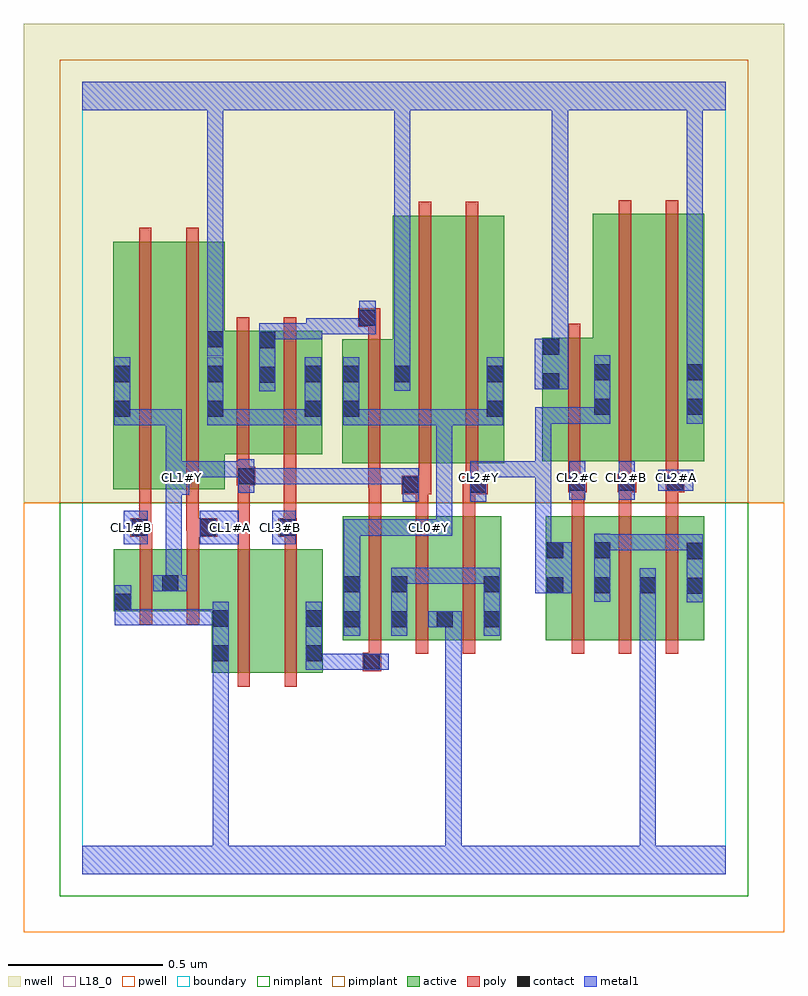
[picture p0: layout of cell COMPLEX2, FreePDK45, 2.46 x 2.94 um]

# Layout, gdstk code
import gdstk
lib = gdstk.Library(unit=1e-6, precision=1e-09)
def R(c, l, rs):  # rectangles x0, y0, x1, y1
    for r in rs: c.add(gdstk.rectangle(r[:2], r[2:], *l))
def A(c, l, x, y, w, h, nx, ny, dx, dy):  # array of equal rectangles
    R(c, l, [(x+i*dx, y+j*dy, x+i*dx+w, y+j*dy+h) for i in range(nx) for j in range(ny)])
active = (1, 0)
pwell = (2, 0)
nwell = (3, 0)
nimplant = (4, 0)
pimplant = (5, 0)
poly = (9, 0)
contact = (10, 0)
metal1 = (11, 0)
L18_0 = (18, 0)
boundary = (235, 0)

complex2 = lib.new_cell('COMPLEX2')
R(complex2, active, [(0.418,0.65,0.598,1.05), (0.418,0.65,0.478,0.856), (0.598,0.65,0.778,1.05), (0.718,0.65,0.778,1.05), (0.842,0.756,0.902,1.156), (0.842,0.756,1.054,1.156), (0.994,0.756,1.054,1.156), (0.994,0.756,1.202,1.156), (1.142,0.756,1.202,1.156), (1.142,0.756,1.354,1.156), (1.294,0.756,1.354,1.156), (1.498,0.756,1.558,1.156), (1.498,0.756,1.71,1.156), (1.65,0.756,1.71,1.156), (1.65,0.756,1.858,1.156), (1.798,0.756,1.858,1.156), (1.798,0.756,2.01,1.156), (1.95,0.756,2.01,1.156), (0.102,0.85,0.314,1.05), (0.102,0.85,0.162,1.05), (0.254,0.85,0.478,1.05), (0.254,0.85,0.314,0.97), (0.1,1.244,0.28,2.044), (0.1,1.244,0.16,2.044), (0.28,1.244,0.46,2.044), (0.84,1.328,0.9,1.646), (0.84,1.328,1.064,1.728), (1.004,1.328,1.184,2.128), (1.004,1.328,1.064,1.646), (1.184,1.328,1.364,2.128), (1.304,1.328,1.364,2.044), (1.486,1.334,1.546,1.734), (1.486,1.334,1.71,1.734), (1.65,1.334,1.83,2.134), (1.65,1.334,1.71,1.652), (1.83,1.334,2.01,2.134), (1.95,1.334,2.01,2.044), (0.4,1.356,0.628,1.756), (0.4,1.356,0.46,1.758), (0.568,1.356,0.628,1.756), (0.568,1.356,0.776,1.756), (0.716,1.356,0.776,1.646)])
R(complex2, pwell, [(-0.188,-0.188,2.268,1.2)])
R(complex2, nwell, [(-0.188,1.2,2.268,2.748)])
R(complex2, nimplant, [(-0.072,-0.072,2.152,1.2)])
R(complex2, pimplant, [(-0.072,1.2,2.152,2.632)])
A(complex2, poly, 0.926, 0.712, 0.04, 0.488, 3, 1, 0.152, 0)
A(complex2, poly, 1.582, 0.712, 0.04, 0.488, 3, 1, 0.152, 0)
A(complex2, poly, 1.582, 1.16, 0.04, 0.114, 3, 1, 0.152, 0)
R(complex2, poly, [(0.502,0.606,0.542,1.094), (0.654,0.606,0.694,1.094), (0.906,0.656,0.966,0.716), (0.926,0.676,0.966,0.752), (0.186,0.806,0.226,1.094), (0.338,0.806,0.378,1.094), (0.186,1.054,0.226,1.13), (0.338,1.054,0.378,1.13), (0.502,1.054,0.542,1.296), (0.654,1.054,0.694,1.13), (0.156,1.09,0.224,1.15), (0.184,1.09,0.224,1.13), (0.184,1.09,0.226,1.13), (0.338,1.09,0.436,1.15), (0.634,1.09,0.694,1.15), (0.184,1.11,0.224,1.24), (0.336,1.11,0.378,1.15), (0.336,1.11,0.376,1.24), (0.338,1.11,0.378,1.15), (0.652,1.11,0.692,1.15), (0.652,1.11,0.692,1.15), (0.652,1.11,0.692,1.352), (0.926,1.16,0.966,1.288), (1.078,1.16,1.118,1.268), (1.23,1.16,1.27,1.268), (0.184,1.2,0.224,2.088), (0.336,1.2,0.376,2.088), (1.032,1.228,1.128,1.288), (1.078,1.228,1.118,1.268), (1.078,1.228,1.118,1.268), (1.23,1.228,1.31,1.288), (1.57,1.234,1.63,1.294), (1.582,1.234,1.622,1.274), (1.582,1.234,1.622,1.274), (1.73,1.234,1.79,1.294), (1.886,1.234,1.946,1.294), (0.924,1.248,0.964,1.324), (0.924,1.248,0.964,1.288), (0.924,1.248,0.964,1.288), (0.924,1.248,0.966,1.288), (1.088,1.248,1.128,1.324), (1.24,1.248,1.28,1.324), (1.24,1.248,1.28,1.288), (1.24,1.248,1.28,1.288), (1.57,1.254,1.61,1.33), (1.734,1.254,1.774,1.33), (1.734,1.254,1.774,1.294), (1.734,1.254,1.774,1.294), (1.886,1.254,1.926,1.33), (1.886,1.254,1.926,1.294), (1.886,1.254,1.926,1.294), (0.5,1.256,0.56,1.316), (0.502,1.256,0.542,1.296), (0.502,1.256,0.542,1.296), (0.5,1.276,0.54,1.352), (0.924,1.284,0.964,1.772), (1.088,1.284,1.128,2.172), (1.24,1.284,1.28,2.172), (1.57,1.29,1.61,1.778), (1.734,1.29,1.774,2.178), (1.886,1.29,1.926,2.178), (0.5,1.312,0.54,1.8), (0.652,1.312,0.692,1.8), (0.924,1.732,0.964,1.808), (0.892,1.768,0.964,1.828)])
A(complex2, contact, 0.404, 1.478, 0.052, 0.052, 1, 3, 0, 0.112)
R(complex2, contact, [(0.91,0.66,0.962,0.712), (0.422,0.688,0.474,0.74), (0.722,0.688,0.774,0.74), (0.846,0.798,0.898,0.85), (0.998,0.798,1.05,0.85), (1.146,0.798,1.198,0.85), (1.298,0.798,1.35,0.85), (0.422,0.8,0.474,0.852), (0.722,0.8,0.774,0.852), (0.106,0.854,0.158,0.906), (1.954,0.906,2.006,0.958), (1.502,0.908,1.554,0.96), (1.654,0.908,1.706,0.96), (1.802,0.908,1.854,0.96), (0.846,0.91,0.898,0.962), (0.998,0.91,1.05,0.962), (1.298,0.91,1.35,0.962), (0.258,0.914,0.31,0.966), (1.954,1.018,2.006,1.07), (1.502,1.02,1.554,1.072), (1.654,1.02,1.706,1.072), (0.16,1.094,0.212,1.146), (0.38,1.094,0.432,1.146), (0.638,1.094,0.69,1.146), (1.036,1.232,1.088,1.284), (1.254,1.232,1.306,1.284), (1.574,1.238,1.626,1.29), (1.734,1.238,1.786,1.29), (1.89,1.238,1.942,1.29), (0.504,1.26,0.556,1.312), (0.104,1.478,0.156,1.53), (0.72,1.478,0.772,1.53), (0.844,1.478,0.896,1.53), (1.308,1.478,1.36,1.53), (1.654,1.484,1.706,1.536), (1.954,1.484,2.006,1.536), (1.49,1.566,1.542,1.618), (0.572,1.588,0.624,1.64), (0.104,1.59,0.156,1.642), (0.72,1.59,0.772,1.642), (0.844,1.59,0.896,1.642), (1.008,1.59,1.06,1.642), (1.308,1.59,1.36,1.642), (1.654,1.596,1.706,1.648), (1.954,1.596,2.006,1.648), (1.49,1.678,1.542,1.73), (0.572,1.7,0.624,1.752), (0.896,1.772,0.948,1.824)])
R(complex2, metal1, [(0,0,2.08,0.092), (0.422,0.04,0.474,0.092), (0.422,0.04,0.474,0.092), (0.422,0.04,0.474,0.092), (0.422,0.04,0.474,0.092), (0.422,0.04,0.474,0.092), (0.422,0.04,0.474,0.092), (0.422,0.04,0.474,0.092), (0.422,0.04,0.474,0.092), (0.422,0.04,0.474,0.092), (0.422,0.04,0.474,0.092), (0.422,0.04,0.474,0.712), (1.174,0.04,1.226,0.85), (1.802,0.04,1.854,0.092), (1.802,0.04,1.854,0.092), (1.802,0.04,1.854,0.092), (1.802,0.04,1.854,0.092), (1.802,0.04,1.854,0.092), (1.802,0.04,1.854,0.092), (1.802,0.04,1.854,0.092), (1.802,0.04,1.854,0.092), (1.802,0.04,1.854,0.092), (1.802,0.04,1.854,0.092), (1.802,0.04,1.854,0.092), (1.802,0.04,1.854,0.092), (1.802,0.04,1.854,0.932), (0.422,0.66,0.474,0.712), (0.422,0.66,0.474,0.712), (0.422,0.66,0.474,0.88), (0.722,0.66,0.774,0.712), (0.722,0.66,0.774,0.712), (0.722,0.66,0.774,0.88), (0.722,0.66,0.934,0.712), (0.882,0.66,0.934,0.712), (0.882,0.66,0.934,0.712), (0.882,0.66,0.99,0.712), (0.846,0.77,0.898,0.99), (0.998,0.77,1.05,0.99), (1.298,0.77,1.35,0.99), (1.118,0.798,1.226,0.85), (1.174,0.798,1.226,0.85), (1.174,0.798,1.226,0.85), (1.174,0.798,1.226,0.85), (1.174,0.798,1.226,0.85), (1.174,0.798,1.226,0.85), (1.174,0.798,1.226,0.85), (1.174,0.798,1.226,0.85), (1.174,0.798,1.226,0.85), (1.174,0.798,1.226,0.85), (1.174,0.798,1.226,0.85), (1.174,0.798,1.226,0.85), (1.174,0.798,1.226,0.85), (0.106,0.804,0.346,0.856), (0.106,0.804,0.158,0.878), (0.294,0.804,0.346,0.856), (0.294,0.804,0.346,0.856), (0.294,0.804,0.346,0.856), (0.294,0.804,0.346,0.856), (0.294,0.804,0.346,0.856), (0.294,0.804,0.346,0.856), (0.294,0.804,0.346,0.856), (0.294,0.804,0.474,0.856), (0.106,0.826,0.158,0.878), (0.106,0.826,0.158,0.934), (1.954,0.878,2.006,1.098), (1.654,0.88,1.706,1.1), (1.802,0.88,1.854,0.988), (1.464,0.908,1.582,1.072), (0.23,0.914,0.338,0.966), (0.27,0.914,0.322,1.278), (0.846,0.938,0.898,1.146), (0.998,0.938,1.196,0.99), (1.144,0.938,1.196,0.99), (1.144,0.938,1.196,0.99), (1.144,0.938,1.196,0.99), (1.144,0.938,1.35,0.99), (1.298,0.938,1.35,0.99), (1.298,0.938,1.35,0.99), (1.464,1.02,1.516,1.334), (1.654,1.046,1.706,1.098), (1.654,1.046,1.706,1.098), (1.654,1.046,1.896,1.098), (1.844,1.046,1.896,1.098), (1.844,1.046,2.006,1.098), (1.954,1.046,2.006,1.098), (1.954,1.046,2.006,1.098), (0.134,1.066,0.212,1.174), (0.38,1.066,0.506,1.174), (0.614,1.066,0.69,1.174), (0.846,1.094,0.898,1.146), (0.846,1.094,0.898,1.146), (0.846,1.094,0.898,1.146), (0.846,1.094,1.044,1.146), (0.992,1.094,1.044,1.146), (0.992,1.094,1.118,1.146), (1.066,1.094,1.174,1.146), (1.122,1.094,1.196,1.146), (1.144,1.094,1.196,1.146), (1.144,1.094,1.196,1.146), (1.144,1.094,1.196,1.146), (1.144,1.094,1.196,1.502), (1.036,1.204,1.088,1.312), (1.254,1.204,1.306,1.334), (1.574,1.21,1.626,1.334), (1.734,1.21,1.786,1.334), (0.27,1.226,0.322,1.278), (0.27,1.226,0.322,1.278), (0.27,1.226,0.346,1.334), (0.504,1.232,0.556,1.34), (1.862,1.238,1.974,1.306), (0.504,1.26,0.662,1.312), (0.61,1.26,0.662,1.312), (0.61,1.26,0.666,1.312), (0.614,1.26,0.666,1.312), (0.614,1.26,0.772,1.312), (0.72,1.26,0.772,1.312), (0.72,1.26,0.922,1.312), (0.87,1.26,0.922,1.312), (0.87,1.26,0.922,1.312), (0.87,1.26,0.922,1.312), (0.87,1.26,1.044,1.312), (0.992,1.26,1.044,1.312), (0.992,1.26,1.088,1.312), (0.27,1.282,0.322,1.502), (0.294,1.282,0.346,1.334), (0.294,1.282,0.346,1.334), (0.294,1.282,0.514,1.334), (0.462,1.282,0.514,1.334), (0.462,1.282,0.556,1.334), (1.254,1.282,1.306,1.334), (1.254,1.282,1.306,1.334), (1.254,1.282,1.516,1.334), (1.464,1.282,1.516,1.334), (1.464,1.282,1.516,1.334), (1.464,1.282,1.516,1.334), (1.464,1.282,1.516,1.508), (0.104,1.45,0.156,1.502), (0.104,1.45,0.156,1.502), (0.104,1.45,0.156,1.67), (0.104,1.45,0.322,1.502), (0.27,1.45,0.322,1.502), (0.404,1.45,0.456,1.502), (0.404,1.45,0.456,1.502), (0.404,1.45,0.456,1.67), (0.404,1.45,0.662,1.502), (0.61,1.45,0.662,1.502), (0.61,1.45,0.666,1.502), (0.614,1.45,0.666,1.502), (0.614,1.45,0.772,1.502), (0.72,1.45,0.772,1.67), (0.844,1.45,0.896,1.502), (0.844,1.45,0.896,1.502), (0.844,1.45,0.896,1.67), (0.844,1.45,1.06,1.502), (1.008,1.45,1.06,1.502), (1.008,1.45,1.196,1.502), (1.144,1.45,1.196,1.502), (1.144,1.45,1.196,1.502), (1.144,1.45,1.196,1.502), (1.144,1.45,1.36,1.502), (1.308,1.45,1.36,1.502), (1.308,1.45,1.36,1.502), (1.308,1.45,1.36,1.67), (1.464,1.456,1.516,1.508), (1.464,1.456,1.516,1.508), (1.464,1.456,1.516,1.508), (1.464,1.456,1.706,1.508), (1.654,1.456,1.706,1.676), (1.954,1.456,2.006,1.676), (0.572,1.56,0.624,1.78), (1.008,1.562,1.06,1.67), (1.462,1.566,1.57,1.73), (1.008,1.618,1.06,2.52), (1.954,1.624,2.006,1.676), (1.954,1.624,2.006,1.676), (1.954,1.624,2.006,2.52), (0.404,1.674,0.456,1.782), (1.518,1.678,1.57,1.73), (1.518,1.678,1.57,1.73), (1.518,1.678,1.57,2.52), (0.572,1.728,0.666,1.78), (0.614,1.728,0.666,1.78), (0.614,1.728,0.776,1.78), (0.724,1.728,0.776,1.78), (0.724,1.728,0.776,1.78), (0.724,1.728,0.776,1.78), (0.724,1.728,0.776,1.796), (0.404,1.73,0.456,1.782), (0.404,1.73,0.456,1.782), (0.404,1.73,0.456,1.782), (0.404,1.73,0.456,1.782), (0.404,1.73,0.456,2.52), (0.724,1.744,0.776,1.796), (0.724,1.744,0.948,1.796), (0.896,1.744,0.948,1.852), (0,2.468,2.08,2.56), (0.404,2.468,0.456,2.52), (0.404,2.468,0.456,2.52), (0.404,2.468,0.456,2.52), (0.404,2.468,0.456,2.52), (1.008,2.468,1.06,2.52), (1.008,2.468,1.06,2.52), (1.008,2.468,1.06,2.52), (1.008,2.468,1.06,2.52), (1.008,2.468,1.06,2.52), (1.008,2.468,1.06,2.52), (1.008,2.468,1.06,2.52), (1.008,2.468,1.06,2.52), (1.518,2.468,1.57,2.52), (1.518,2.468,1.57,2.52), (1.518,2.468,1.57,2.52), (1.518,2.468,1.57,2.52), (1.518,2.468,1.57,2.52), (1.518,2.468,1.57,2.52), (1.518,2.468,1.57,2.52), (1.518,2.468,1.57,2.52), (1.518,2.468,1.57,2.52), (1.518,2.468,1.57,2.52), (1.518,2.468,1.57,2.52), (1.518,2.468,1.57,2.52), (1.518,2.468,1.57,2.52), (1.518,2.468,1.57,2.52), (1.954,2.468,2.006,2.52), (1.954,2.468,2.006,2.52), (1.954,2.468,2.006,2.52), (1.954,2.468,2.006,2.52), (1.954,2.468,2.006,2.52), (1.954,2.468,2.006,2.52)])
A(complex2, L18_0, 1.574, 1.254, 0.052, 0.052, 3, 1, 0.16, 0)
R(complex2, L18_0, [(0,0,2.08,0.092), (0.422,0.04,0.474,0.092), (0.422,0.04,0.474,0.092), (0.422,0.04,0.474,0.092), (0.422,0.04,0.474,0.092), (0.422,0.04,0.474,0.092), (0.422,0.04,0.474,0.092), (0.422,0.04,0.474,0.092), (0.422,0.04,0.474,0.092), (0.422,0.04,0.474,0.092), (0.422,0.04,0.474,0.092), (0.422,0.04,0.474,0.712), (1.174,0.04,1.226,0.85), (1.802,0.04,1.854,0.092), (1.802,0.04,1.854,0.092), (1.802,0.04,1.854,0.092), (1.802,0.04,1.854,0.092), (1.802,0.04,1.854,0.092), (1.802,0.04,1.854,0.092), (1.802,0.04,1.854,0.092), (1.802,0.04,1.854,0.092), (1.802,0.04,1.854,0.092), (1.802,0.04,1.854,0.092), (1.802,0.04,1.854,0.092), (1.802,0.04,1.854,0.092), (1.802,0.04,1.854,0.932), (0.422,0.66,0.474,0.88), (0.422,0.66,0.474,0.712), (0.422,0.66,0.474,0.712), (0.846,0.77,0.898,0.99), (1.118,0.798,1.226,0.85), (1.174,0.798,1.226,0.85), (1.174,0.798,1.226,0.85), (1.174,0.798,1.226,0.85), (1.174,0.798,1.226,0.85), (1.174,0.798,1.226,0.85), (1.174,0.798,1.226,0.85), (1.174,0.798,1.226,0.85), (1.174,0.798,1.226,0.85), (1.174,0.798,1.226,0.85), (1.174,0.798,1.226,0.85), (1.174,0.798,1.226,0.85), (1.174,0.798,1.226,0.85), (0.106,0.804,0.158,0.878), (0.106,0.804,0.346,0.856), (0.294,0.804,0.346,0.856), (0.294,0.804,0.346,0.856), (0.294,0.804,0.346,0.856), (0.294,0.804,0.346,0.856), (0.294,0.804,0.346,0.856), (0.294,0.804,0.346,0.856), (0.294,0.804,0.346,0.856), (0.294,0.804,0.474,0.856), (0.106,0.826,0.158,0.934), (0.106,0.826,0.158,0.878), (1.802,0.88,1.854,0.988), (1.464,0.908,1.582,1.072), (0.23,0.914,0.338,0.966), (0.27,0.914,0.322,1.278), (0.846,0.938,0.898,1.146), (1.464,1.02,1.516,1.334), (0.134,1.066,0.212,1.174), (0.38,1.066,0.506,1.174), (0.614,1.066,0.69,1.174), (0.134,1.094,0.186,1.146), (0.454,1.094,0.506,1.146), (0.614,1.094,0.666,1.146), (0.846,1.094,0.898,1.146), (0.846,1.094,0.898,1.146), (0.846,1.094,0.898,1.146), (0.846,1.094,1.044,1.146), (0.992,1.094,1.044,1.146), (0.992,1.094,1.118,1.146), (1.066,1.094,1.174,1.146), (1.094,1.094,1.146,1.146), (1.122,1.094,1.196,1.146), (1.144,1.094,1.196,1.146), (1.144,1.094,1.196,1.146), (1.144,1.094,1.196,1.146), (1.144,1.094,1.196,1.502), (1.036,1.204,1.088,1.312), (1.254,1.204,1.306,1.334), (1.574,1.21,1.626,1.334), (1.734,1.21,1.786,1.334), (0.27,1.226,0.322,1.278), (0.27,1.226,0.322,1.278), (0.27,1.226,0.346,1.334), (0.504,1.232,0.556,1.34), (1.862,1.238,1.974,1.306), (0.294,1.254,0.346,1.306), (1.254,1.254,1.306,1.306), (0.504,1.26,0.662,1.312), (0.61,1.26,0.662,1.312), (0.61,1.26,0.666,1.312), (0.614,1.26,0.666,1.312), (0.614,1.26,0.772,1.312), (0.72,1.26,0.772,1.312), (0.72,1.26,0.922,1.312), (0.87,1.26,0.922,1.312), (0.87,1.26,0.922,1.312), (0.87,1.26,0.922,1.312), (0.87,1.26,1.044,1.312), (0.992,1.26,1.044,1.312), (0.992,1.26,1.088,1.312), (0.27,1.282,0.322,1.502), (0.294,1.282,0.346,1.334), (0.294,1.282,0.346,1.334), (0.294,1.282,0.514,1.334), (0.462,1.282,0.514,1.334), (0.462,1.282,0.556,1.334), (1.254,1.282,1.306,1.334), (1.254,1.282,1.306,1.334), (1.254,1.282,1.516,1.334), (1.464,1.282,1.516,1.334), (1.464,1.282,1.516,1.334), (1.464,1.282,1.516,1.334), (1.464,1.282,1.516,1.508), (0.104,1.45,0.156,1.67), (0.104,1.45,0.156,1.502), (0.104,1.45,0.156,1.502), (0.104,1.45,0.322,1.502), (0.27,1.45,0.322,1.502), (0.404,1.45,0.456,1.67), (0.404,1.45,0.456,1.502), (0.404,1.45,0.456,1.502), (0.404,1.45,0.662,1.502), (0.61,1.45,0.662,1.502), (0.61,1.45,0.666,1.502), (0.614,1.45,0.666,1.502), (0.614,1.45,0.772,1.502), (0.72,1.45,0.772,1.67), (0.844,1.45,0.896,1.67), (0.844,1.45,0.896,1.502), (0.844,1.45,0.896,1.502), (0.844,1.45,1.06,1.502), (1.008,1.45,1.06,1.502), (1.008,1.45,1.196,1.502), (1.144,1.45,1.196,1.502), (1.144,1.45,1.196,1.502), (1.144,1.45,1.196,1.502), (1.144,1.45,1.36,1.502), (1.308,1.45,1.36,1.67), (1.308,1.45,1.36,1.502), (1.308,1.45,1.36,1.502), (1.464,1.456,1.516,1.508), (1.464,1.456,1.516,1.508), (1.464,1.456,1.516,1.508), (1.464,1.456,1.706,1.508), (1.654,1.456,1.706,1.676), (1.954,1.456,2.006,1.676), (1.008,1.562,1.06,1.67), (1.462,1.566,1.57,1.73), (1.008,1.618,1.06,2.52), (1.954,1.624,2.006,1.676), (1.954,1.624,2.006,1.676), (1.954,1.624,2.006,2.52), (0.404,1.674,0.456,1.782), (1.518,1.678,1.57,1.73), (1.518,1.678,1.57,1.73), (1.518,1.678,1.57,2.52), (0.404,1.73,0.456,1.782), (0.404,1.73,0.456,1.782), (0.404,1.73,0.456,1.782), (0.404,1.73,0.456,1.782), (0.404,1.73,0.456,2.52), (0,2.468,2.08,2.56), (0.404,2.468,0.456,2.52), (0.404,2.468,0.456,2.52), (0.404,2.468,0.456,2.52), (0.404,2.468,0.456,2.52), (1.008,2.468,1.06,2.52), (1.008,2.468,1.06,2.52), (1.008,2.468,1.06,2.52), (1.008,2.468,1.06,2.52), (1.008,2.468,1.06,2.52), (1.008,2.468,1.06,2.52), (1.008,2.468,1.06,2.52), (1.008,2.468,1.06,2.52), (1.518,2.468,1.57,2.52), (1.518,2.468,1.57,2.52), (1.518,2.468,1.57,2.52), (1.518,2.468,1.57,2.52), (1.518,2.468,1.57,2.52), (1.518,2.468,1.57,2.52), (1.518,2.468,1.57,2.52), (1.518,2.468,1.57,2.52), (1.518,2.468,1.57,2.52), (1.518,2.468,1.57,2.52), (1.518,2.468,1.57,2.52), (1.518,2.468,1.57,2.52), (1.518,2.468,1.57,2.52), (1.518,2.468,1.57,2.52), (1.954,2.468,2.006,2.52), (1.954,2.468,2.006,2.52), (1.954,2.468,2.006,2.52), (1.954,2.468,2.006,2.52), (1.954,2.468,2.006,2.52), (1.954,2.468,2.006,2.52)])
R(complex2, boundary, [(0,0,2.08,2.56)])
complex2.add(gdstk.Label('CL0#Y', (1.12,1.12), layer=11, texttype=0))
complex2.add(gdstk.Label('CL1#A', (0.48,1.12), layer=11, texttype=0))
complex2.add(gdstk.Label('CL1#B', (0.16,1.12), layer=11, texttype=0))
complex2.add(gdstk.Label('CL1#Y', (0.32,1.28), layer=11, texttype=0))
complex2.add(gdstk.Label('CL2#A', (1.92,1.28), layer=11, texttype=0))
complex2.add(gdstk.Label('CL2#B', (1.76,1.28), layer=11, texttype=0))
complex2.add(gdstk.Label('CL2#C', (1.6,1.28), layer=11, texttype=0))
complex2.add(gdstk.Label('CL2#Y', (1.28,1.28), layer=11, texttype=0))
complex2.add(gdstk.Label('CL3#B', (0.64,1.12), layer=11, texttype=0))

lib.write_gds('COMPLEX2.gds')
